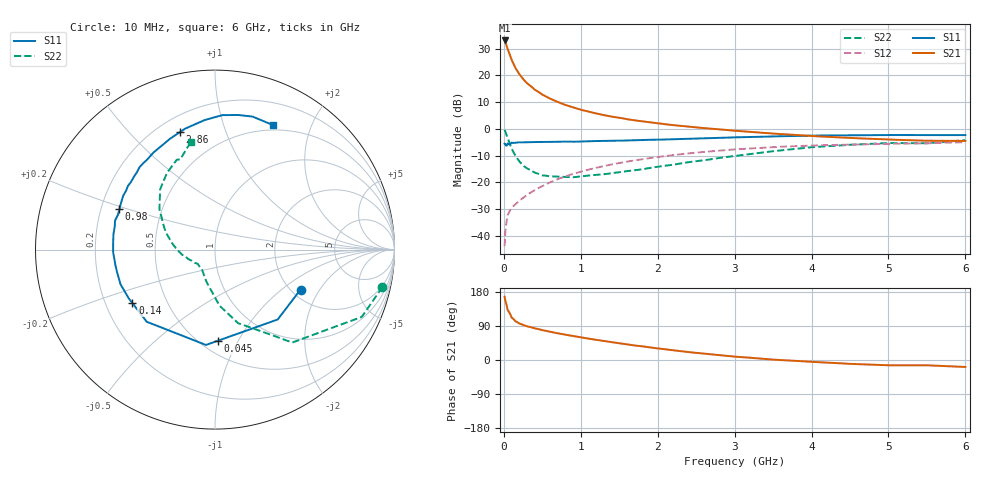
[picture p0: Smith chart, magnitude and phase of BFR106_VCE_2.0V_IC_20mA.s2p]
! Infineon Technologies  Discrete & RF Semiconductors
! BFR106
! VCE =  2.0 V,  IC =  20 mA
! Common Emitter S-Parameters:  Nov 2015
# GHz  S  MA  R  50
!  f  S11  S21  S12  S22
! GHz  MAG  ANG  MAG  ANG  MAG  ANG  MAG  ANG
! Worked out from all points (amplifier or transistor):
!   210 points, 10 MHz to 6 GHz, reference 50 ohm
!   highest |S21| = 33.1 dB at 10 MHz (marker M1)
!   |S21| within 3 dB of that: start of sweep to 47.31 MHz
!   unconditionally stable (mu >= 1): 366 MHz to 2.556 GHz; 5.001 GHz to end of sweep
!   at 185 MHz: K = 0.78, MSG = 24.3 dB, |S12| = -27.3 dB
!   at 1.52 GHz: K = 1.07, MAG = 6.8 dB, |S12| = -12.7 dB
!   at 6 GHz: K = 1.01, MAG = -0.5 dB, |S12| = -5.0 dB
!   S11 on the Smith chart (normalised r, x): 10 MHz: 2.24, -1.38; 45 MHz: 0.61, -0.83; 140 MHz: 0.31, -0.27; 980 MHz: 0.28, +0.19; 2.86 GHz: 0.29, +0.70; 6 GHz: 0.44, +1.48
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0.01  0.5262 -25.0  45.06 166.9  0.0064 81.4  0.9559 -12.6
0.02  0.5231 -48.1  42.37 155.9  0.0123 71.9  0.8997 -24.6
0.045  0.5079 -88.2  32.54 136.7  0.0222 58.1  0.6997 -44.9
0.05  0.5337 -95.4  31.17 131.6  0.0243 56.7  0.6737 -50.2
0.1  0.5534 -133.4  19.59 112.2  0.0331 49.9  0.4293 -72.6
0.14  0.5484 -147.1  14.89 104.8  0.0377 51.3  0.335 -82.1
0.15  0.552 -150.5  13.77 102.2  0.0388 51.6  0.3134 -85.4
0.2  0.5607 -159.8  10.62 96.5  0.045 54.1  0.2481 -92.4
0.24  0.5595 -165.1  8.956 93.1  0.05 55.7  0.214 -98.1
0.3  0.5615 -170.9  7.177 88.9  0.0578 59.1  0.1838 -105.2
0.4  0.5678 -178.6  5.448 83.6  0.0713 62.0  0.1526 -114.2
0.5  0.569 176.3  4.381 78.8  0.085 63.1  0.1356 -121.2
0.6  0.5723 171.2  3.682 74.5  0.0997 64.0  0.1298 -126.3
0.98  0.5787 157.1  2.33 60.5  0.1554 62.6  0.1278 -142.5
1.02  0.581 155.6  2.247 59.2  0.1612 62.3  0.1297 -143.8
1.4  0.6009 143.9  1.695 47.3  0.2157 58.1  0.1481 -156.4
2.02  0.6283 126.9  1.26 30.1  0.3003 49.2  0.1979 -175.8
2.86  0.6825 106.8  0.963 11.7  0.398 35.9  0.2935 159.7
3.1  0.6987 101.9  0.902 7.5  0.4213 32.0  0.3234 153.3
4.1  0.7516 85.5  0.723 -5.8  0.4931 16.7  0.463 130.1
5.1  0.7683 73.1  0.625 -13.9  0.5276 4.1  0.543 112.6
6  0.7655 64.9  0.595 -18.4  0.5639 -5.3  0.6149 102.7
